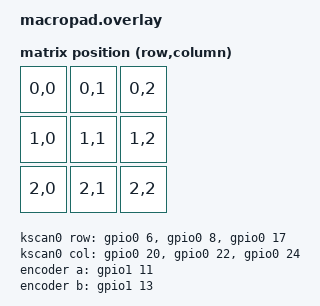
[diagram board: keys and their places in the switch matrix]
#include <dt-bindings/zmk/matrix_transform.h>

/ {
    chosen {
        zmk,kscan = &kscan0;
        zmk,matrix_transform = &default_transform;
        zmk,display = &ssd1306;
    };

    default_transform: keymap_transform_0 {
        compatible = "zmk,matrix-transform";
        columns = <3>;
        rows = <3>;
        map = <
            RC(0,0) RC(0,1) RC(0,2)
            RC(1,0) RC(1,1) RC(1,2)
            RC(2,0) RC(2,1) RC(2,2)
        >;
    };

    kscan0: kscan {
        compatible = "zmk,kscan-gpio-matrix";
        label = "KSCAN";
        diode-direction = "row2col";

        row-gpios
            = <&gpio0 6 GPIO_ACTIVE_HIGH>   // D4 = P0.06 = Row 0
            , <&gpio0 8 GPIO_ACTIVE_HIGH>   // D5 = P0.08 = Row 1
            , <&gpio0 17 GPIO_ACTIVE_HIGH>  // D6 = P0.17 = Row 2
            ;

        col-gpios
            = <&gpio0 20 (GPIO_ACTIVE_HIGH | GPIO_PULL_DOWN)>  // D7 = P0.20 = Col 0
            , <&gpio0 22 (GPIO_ACTIVE_HIGH | GPIO_PULL_DOWN)>  // D8 = P0.22 = Col 1
            , <&gpio0 24 (GPIO_ACTIVE_HIGH | GPIO_PULL_DOWN)>  // D9 = P0.24 = Col 2
            ;
    };

    encoder: encoder {
        compatible = "alps,ec11";
        label = "ENCODER";
        a-gpios = <&gpio1 11 (GPIO_ACTIVE_HIGH | GPIO_PULL_UP)>;  // D10 = P1.11
        b-gpios = <&gpio1 13 (GPIO_ACTIVE_HIGH | GPIO_PULL_UP)>;  // D16 = P1.13
        resolution = <4>;
        status = "okay";
    };

    sensors {
        compatible = "zmk,keymap-sensors";
        sensors = <&encoder>;
    };
};

// SPI display — ST7789
&spi1 {
    status = "okay";
    compatible = "nordic,nrf-spim";
    sck-pin = <3>;    // D3
    mosi-pin = <2>;   // D2
    miso-pin = <255>; // not used

    ssd1306: st7789v@0 {
        compatible = "sitronix,st7789v";
        label = "ST7789V";
        reg = <0>;
        spi-max-frequency = <20000000>;
        cmd-data-gpios = <&gpio0 2 GPIO_ACTIVE_LOW>;   // DC = D0
        reset-gpios    = <&gpio0 24 GPIO_ACTIVE_LOW>;  // RST = D15
        cs-gpios       = <&gpio0 3 GPIO_ACTIVE_LOW>;   // CS = D1
        width  = <320>;
        height = <240>;
        x-offset = <0>;
        y-offset = <0>;
        vcom = <0x19>;
        gctrl = <0x35>;
        vrhs = <0x12>;
        vdvs = <0x20>;
        mdac = <0x00>;
        gamma = <0x01>;
        colmod = <0x05>;
        lcm = <0x2c>;
        porch-param = [0c 0c 00 33 33];
        cmd2en-param = [5a 69 02 01];
        pwctrl1-param = [a4 a1];
        pvgam-param = [D0 04 0D 11 13 2B 3F 54 4C 18 0D 0B 1F 23];
        nvgam-param = [D0 04 0C 11 13 2C 3F 44 51 2F 1F 1F 20 23];
        ram-param = [00 F0];
        rgb-param = [CD 08 14];
    };
};
